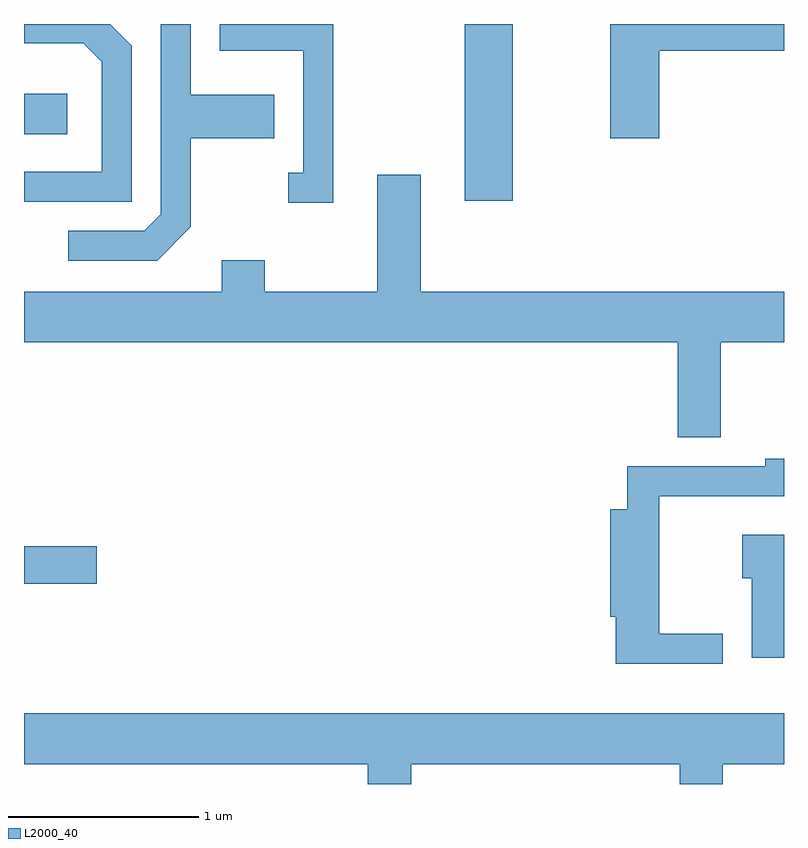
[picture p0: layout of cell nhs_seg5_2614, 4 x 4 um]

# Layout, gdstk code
import gdstk
lib = gdstk.Library(unit=1e-6, precision=1e-09)
def R(c, l, rs):  # rectangles x0, y0, x1, y1
    for r in rs: c.add(gdstk.rectangle(r[:2], r[2:], *l))
def P(c, l, *ps):  # polygons
    for p in ps: c.add(gdstk.Polygon(p, *l))
L2000_40 = (2000, 40)

nhs_seg5_2614 = lib.new_cell('nhs_seg5_2614')
R(nhs_seg5_2614, L2000_40, [(263.611,1411.126,263.994,1411.324), (265.931,1413.141,266.184,1414.072), (263.611,1413.491,263.839,1413.704)])
P(nhs_seg5_2614, L2000_40, [(264.179,1413.957),(264.064,1414.072),(263.611,1414.072),(263.611,1413.971),(263.924,1413.971),(264.021,1413.874),(264.021,1413.294),(263.611,1413.294),(263.611,1413.136),(264.179,1413.136)],
  [(264.489,1413.004),(264.489,1413.471),(264.929,1413.471),(264.929,1413.699),(264.489,1413.699),(264.489,1414.072),(264.331,1414.072),(264.331,1413.072),(264.244,1412.984),(263.843,1412.984),(263.843,1412.826),(264.312,1412.826)],
  [(265.239,1414.072),(264.641,1414.072),(264.641,1413.931),(265.081,1413.931),(265.081,1413.289),(265.003,1413.289),(265.003,1413.131),(265.239,1413.131)],
  [(266.954,1413.931),(267.611,1413.931),(267.611,1414.072),(266.696,1414.072),(266.696,1413.471),(266.954,1413.471)],
  [(267.279,1412.396),(267.611,1412.396),(267.611,1412.664),(265.699,1412.664),(265.699,1413.279),(265.471,1413.279),(265.471,1412.664),(264.879,1412.664),(264.879,1412.829),(264.651,1412.829),(264.651,1412.664),(263.611,1412.664),(263.611,1412.396),(267.051,1412.396),(267.051,1411.896),(267.279,1411.896)],
  [(267.288,1410.864),(266.954,1410.864),(266.954,1411.586),(267.611,1411.586),(267.611,1411.784),(267.511,1411.784),(267.511,1411.744),(266.786,1411.744),(266.786,1411.519),(266.696,1411.519),(266.696,1410.951),(266.726,1410.951),(266.726,1410.706),(267.288,1410.706)],
  [(267.611,1411.384),(267.391,1411.384),(267.391,1411.156),(267.441,1411.156),(267.441,1410.736),(267.611,1410.736)],
  [(265.649,1410.176),(267.061,1410.176),(267.061,1410.072),(267.289,1410.072),(267.289,1410.176),(267.611,1410.176),(267.611,1410.444),(263.611,1410.444),(263.611,1410.176),(265.421,1410.176),(265.421,1410.072),(265.649,1410.072)])

lib.write_gds('nhs_seg5_2614.gds')
